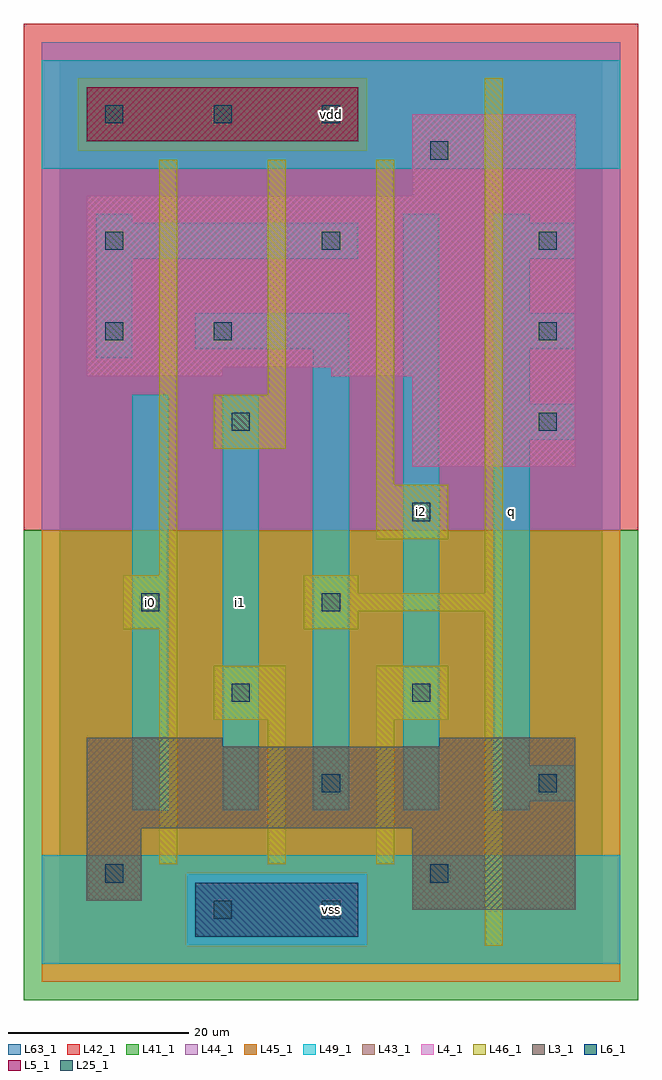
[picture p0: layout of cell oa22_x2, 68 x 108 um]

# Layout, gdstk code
import gdstk
lib = gdstk.Library(unit=1e-6, precision=1e-09)
def R(c, l, rs):  # rectangles x0, y0, x1, y1
    for r in rs: c.add(gdstk.rectangle(r[:2], r[2:], *l))
def A(c, l, x, y, w, h, nx, ny, dx, dy):  # array of equal rectangles
    R(c, l, [(x+i*dx, y+j*dy, x+i*dx+w, y+j*dy+h) for i in range(nx) for j in range(ny)])
L3_1 = (3, 1)
L4_1 = (4, 1)
L5_1 = (5, 1)
L6_1 = (6, 1)
L25_1 = (25, 1)
L41_1 = (41, 1)
L42_1 = (42, 1)
L43_1 = (43, 1)
L44_1 = (44, 1)
L45_1 = (45, 1)
L46_1 = (46, 1)
L49_1 = (49, 1)
L63_1 = (63, 1)

oa22_x2 = lib.new_cell('oa22_x2')
R(oa22_x2, L3_1, [(39,6,57,15), (3,7,9,15), (3,15,57,24), (3,24,18,25), (42,24,57,25)])
R(oa22_x2, L4_1, [(39,55,57,65), (3,65,18,66), (30,65,57,66), (3,66,57,85), (39,85,57,94)])
R(oa22_x2, L5_1, [(3,91,33,97)])
R(oa22_x2, L6_1, [(15,3,33,9), (15,3,33,9)])
A(oa22_x2, L25_1, 5, 79, 2, 2, 3, 1, 24, 0)
A(oa22_x2, L25_1, 5, 93, 2, 2, 3, 1, 12, 0)
R(oa22_x2, L25_1, [(17,5,19,7), (29,5,31,7), (5,9,7,11), (41,9,43,11), (29,19,31,21), (53,19,55,21), (19,29,21,31), (39,29,41,31), (9,39,11,41), (29,39,31,41), (39,49,41,51), (19,59,21,61), (53,59,55,61), (5,69,7,71), (17,69,19,71), (53,69,55,71), (41,89,43,91)])
R(oa22_x2, L41_1, [(-4,-4,64,48)])
R(oa22_x2, L42_1, [(-4,48,64,104)])
R(oa22_x2, L43_1, [(15,3,33,9), (39,6,57,15), (3,7,9,15), (3,15,57,24), (3,24,18,25), (42,24,57,25), (39,55,57,65), (3,65,18,66), (30,65,57,66), (3,66,57,85), (39,85,57,94), (3,91,33,97)])
R(oa22_x2, L44_1, [(14,2,34,10), (-2,48,62,90), (-2,90,2,98), (34,90,62,98), (-2,98,62,102)])
R(oa22_x2, L45_1, [(-2,-2,62,2), (-2,2,14,10), (34,2,62,10), (-2,10,62,48), (2,90,34,98)])
R(oa22_x2, L46_1, [(47,2,49,39), (11,11,13,37), (23,11,25,27), (35,11,37,27), (17,27,25,33), (35,27,43,33), (7,37,13,43), (27,37,33,39), (27,39,49,41), (27,41,33,43), (47,41,49,98), (11,43,13,89), (35,47,43,53), (35,53,37,89), (17,57,25,63), (23,63,25,89)])
A(oa22_x2, L49_1, 48, 58, 9, 4, 1, 3, 0, 10)
R(oa22_x2, L49_1, [(-2,0,62,12), (8,17,12,63), (18,17,22,63), (28,17,32,68), (38,17,42,83), (48,17,52,18), (48,18,57,22), (48,22,52,58), (48,62,52,68), (4,67,8,78), (15,68,32,72), (48,72,52,78), (4,78,33,82), (4,82,8,83), (48,82,52,83), (-2,88,62,100)])
R(oa22_x2, L63_1, [(0,0,60,100)])
oa22_x2.add(gdstk.Label('i0', (10,40), layer=49, texttype=1))
oa22_x2.add(gdstk.Label('i1', (20,40), layer=49, texttype=1))
oa22_x2.add(gdstk.Label('vss', (30,6), layer=49, texttype=1))
oa22_x2.add(gdstk.Label('i2', (40,50), layer=49, texttype=1))
oa22_x2.add(gdstk.Label('vdd', (30,94), layer=49, texttype=1))
oa22_x2.add(gdstk.Label('q', (50,50), layer=49, texttype=1))

lib.write_gds('oa22_x2.gds')
